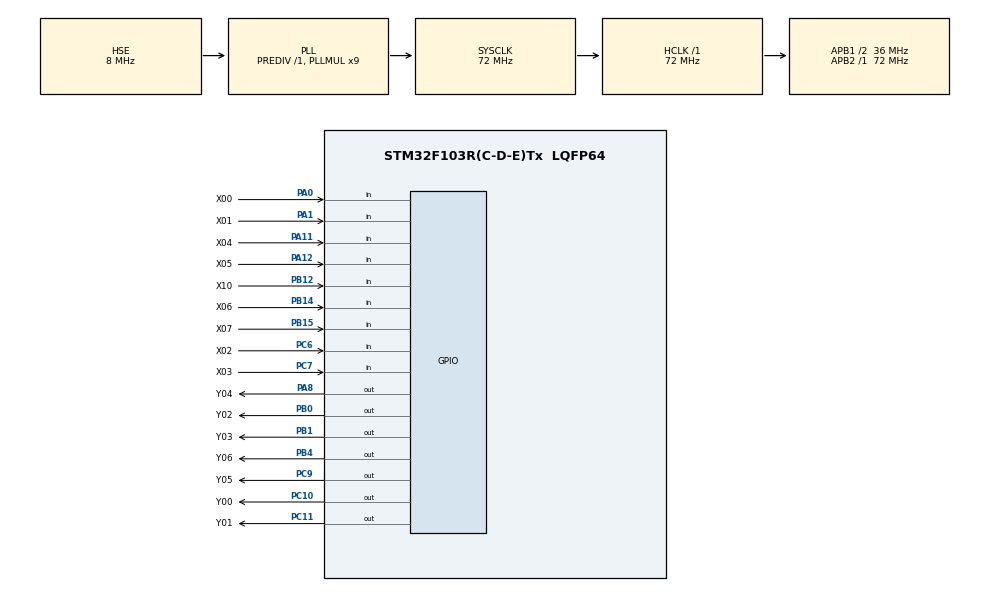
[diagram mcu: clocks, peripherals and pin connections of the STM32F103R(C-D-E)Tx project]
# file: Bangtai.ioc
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FREERTOS.Tasks01=buttonTask,24,128,StartDefaultTask,Default,NULL,Dynamic,NULL,NULL;myTask02,32,128,StartTask02,Default,NULL,Dynamic,NULL,NULL
Mcu.Family=STM32F1
Mcu.Name=STM32F103R(C-D-E)Tx
Mcu.Package=LQFP64
NVIC.PriorityGroup=NVIC_PRIORITYGROUP_4
NVIC.TIM4_IRQn=true\:15\:0\:false\:false\:true\:false\:false\:true\:true
NVIC.TimeBase=TIM4_IRQn
NVIC.TimeBaseIP=TIM4
PA0-WKUP.GPIO_Label=X00
PA0-WKUP.Signal=GPIO_Input
PA1.GPIO_Label=X01
PA1.Signal=GPIO_Input
PA11.GPIO_Label=X04
PA11.GPIO_PuPd=GPIO_PULLUP
PA11.Signal=GPIO_Input
PA12.GPIO_Label=X05
PA12.GPIO_PuPd=GPIO_NOPULL
PA12.Signal=GPIO_Input
PA13.Mode=Serial_Wire
PA13.Signal=SYS_JTMS-SWDIO
PA14.Mode=Serial_Wire
PA14.Signal=SYS_JTCK-SWCLK
PA8.GPIO_Label=Y04
PA8.GPIO_PuPd=GPIO_NOPULL
PA8.GPIO_Speed=GPIO_SPEED_FREQ_LOW
PA8.Signal=GPIO_Output
PB0.GPIO_Label=Y02
PB0.GPIO_PuPd=GPIO_NOPULL
PB0.Signal=GPIO_Output
PB1.GPIO_Label=Y03
PB1.GPIO_PuPd=GPIO_NOPULL
PB1.Signal=GPIO_Output
PB12.GPIO_Label=X10
PB12.Signal=GPIO_Input
PB14.GPIO_Label=X06
PB14.GPIO_PuPd=GPIO_NOPULL
PB14.Signal=GPIO_Input
PB15.GPIO_Label=X07
PB15.GPIO_PuPd=GPIO_NOPULL
PB15.Signal=GPIO_Input
PB4.GPIO_Label=Y06
PB4.GPIO_PuPd=GPIO_NOPULL
PB4.Signal=GPIO_Output
PC10.GPIO_Label=Y00
PC10.GPIO_PuPd=GPIO_NOPULL
PC10.Signal=GPIO_Output
PC11.GPIO_Label=Y01
PC11.GPIO_PuPd=GPIO_NOPULL
PC11.Signal=GPIO_Output
PC6.GPIO_Label=X02
PC6.Signal=GPIO_Input
PC7.GPIO_Label=X03
PC7.GPIO_PuPd=GPIO_PULLUP
PC7.Signal=GPIO_Input
PC9.GPIO_Label=Y05
PC9.GPIO_PuPd=GPIO_NOPULL
PC9.Signal=GPIO_Output
PD0-OSC_IN.Mode=HSE-External-Oscillator
PD0-OSC_IN.Signal=RCC_OSC_IN
PD1-OSC_OUT.Mode=HSE-External-Oscillator
PD1-OSC_OUT.Signal=RCC_OSC_OUT
ProjectManager.HeapSize=0x200
ProjectManager.StackSize=0x400
ProjectManager.TargetToolchain=STM32CubeIDE
RCC.AHBFreq_Value=72000000
RCC.APB1CLKDivider=RCC_HCLK_DIV2
RCC.APB1Freq_Value=36000000
RCC.APB1TimFreq_Value=72000000
RCC.APB2Freq_Value=72000000
RCC.APB2TimFreq_Value=72000000
RCC.HCLKFreq_Value=72000000
RCC.PLLMUL=RCC_PLL_MUL9
RCC.PLLSourceVirtual=RCC_PLLSOURCE_HSE
RCC.SYSCLKFreq_VALUE=72000000
RCC.SYSCLKSource=RCC_SYSCLKSOURCE_PLLCLK
RCC.USBFreq_Value=72000000
VP_FREERTOS_VS_CMSIS_V2.Mode=CMSIS_V2
VP_SYS_VS_tim4.Mode=TIM4
board=custom

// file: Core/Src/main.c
/* USER CODE BEGIN Header */
/**
  ******************************************************************************
  * @file           : main.c
  * @brief          : Main program body
  ******************************************************************************
  * @attention
  *
  * Copyright (c) 2024 STMicroelectronics.
  * All rights reserved.
  *
  * This software is licensed under terms that can be found in the LICENSE file
  * in the root directory of this software component.
  * If no LICENSE file comes with this software, it is provided AS-IS.
  *
  ******************************************************************************
  */
/* USER CODE END Header */
#include "main.h"
#include "cmsis_os.h"

/* USER CODE BEGIN PTD */
typedef enum {
	PROGRAM_STOPPED,
	PROGRAM_RUNNING,
}ProgramState;
typedef enum {
	Motor_load,
	Motor_unload,
	Motor_stop,
}Motor;

/* USER CODE END PTD */

/* Definitions for buttonTask */
osThreadId_t buttonTaskHandle;
const osThreadAttr_t buttonTask_attributes = {
  .name = "buttonTask",
  .stack_size = 128 * 4,
  .priority = (osPriority_t) osPriorityNormal,
};
/* Definitions for myTask02 */
osThreadId_t myTask02Handle;
const osThreadAttr_t myTask02_attributes = {
  .name = "myTask02",
  .stack_size = 128 * 4,
  .priority = (osPriority_t) osPriorityAboveNormal,
};
/* USER CODE BEGIN PV */
ProgramState programState=PROGRAM_RUNNING;

/* USER CODE END PV */

void SystemClock_Config(void);
static void MX_GPIO_Init(void);
void StartDefaultTask(void *argument);
void StartTask02(void *argument);

/* USER CODE BEGIN 0 */
uint16_t req=0;
uint16_t tag=0;

void Motor_driver(Motor status)
{
	switch(status)
	{
		case Motor_load:
			HAL_GPIO_WritePin(Y00_GPIO_Port, Y00_Pin, GPIO_PIN_SET);//Motor Load
			HAL_GPIO_WritePin(Y01_GPIO_Port, Y01_Pin, GPIO_PIN_RESET);
			break;
		case Motor_unload:
			HAL_GPIO_WritePin(Y00_GPIO_Port, Y00_Pin, GPIO_PIN_SET);//Motor UnLoad
			HAL_GPIO_WritePin(Y01_GPIO_Port, Y01_Pin, GPIO_PIN_SET);
			break;
		default:
			HAL_GPIO_WritePin(Y00_GPIO_Port, Y00_Pin, GPIO_PIN_RESET);//Motor Stop
			HAL_GPIO_WritePin(Y01_GPIO_Port, Y01_Pin, GPIO_PIN_RESET);
			break;
	}

}
void Program_Run_Load(void)
{
	if(HAL_GPIO_ReadPin(X04_GPIO_Port, X04_Pin)==1)//cb1
	{
		tag=1;
	}
	if(tag==1)
	{
		if(HAL_GPIO_ReadPin(X07_GPIO_Port, X07_Pin)==0)//red sensor3
		{
			HAL_GPIO_WritePin(Y04_GPIO_Port, Y04_Pin, GPIO_PIN_SET);//write sensor 3
			Motor_driver(Motor_load);
			if(HAL_GPIO_ReadPin(X04_GPIO_Port, X04_Pin)==0)//cb1=0
			{
				Motor_driver(Motor_stop);
				HAL_GPIO_WritePin(Y02_GPIO_Port, Y02_Pin, GPIO_PIN_SET);//wirte sensor 1
				req=0;
				tag=0;
				HAL_Delay(500);
				HAL_GPIO_WritePin(Y02_GPIO_Port, Y02_Pin, GPIO_PIN_RESET);
				HAL_GPIO_WritePin(Y04_GPIO_Port, Y04_Pin, GPIO_PIN_RESET);
			}

		}
		else {
			Motor_driver(Motor_stop);
		}
	}

}
void Program_Run_UnLoad(void)
{
	if(HAL_GPIO_ReadPin(X04_GPIO_Port, X04_Pin)==0)//co hang cb 2
		{
			tag=1;
		}
		if(tag==1)
		{
			if(HAL_GPIO_ReadPin(X07_GPIO_Port, X07_Pin)==0)
			{
				HAL_GPIO_WritePin(Y04_GPIO_Port, Y04_Pin, GPIO_PIN_SET);
				Motor_driver(Motor_unload);
				if(HAL_GPIO_ReadPin(X05_GPIO_Port, X05_Pin)==0)
				{
					Motor_driver(Motor_stop);
					HAL_GPIO_WritePin(Y02_GPIO_Port, Y02_Pin, GPIO_PIN_SET);
					req=0;
					tag=0;
					HAL_Delay(500);
					HAL_GPIO_WritePin(Y02_GPIO_Port, Y02_Pin, GPIO_PIN_RESET);
					HAL_GPIO_WritePin(Y04_GPIO_Port, Y04_Pin, GPIO_PIN_RESET);
				}
			}
			else
			{
				Motor_driver(Motor_stop);
			}

		}

}
void Program_Stop(void)
{
		Motor_driver(Motor_stop);
}

/* USER CODE END 0 */

int main(void)
{

  /* MCU Configuration--------------------------------------------------------*/

  /* Reset of all peripherals, Initializes the Flash interface and the Systick. */
  HAL_Init();

  /* Configure the system clock */
  SystemClock_Config();

  /* Initialize all configured peripherals */
  MX_GPIO_Init();
  /* USER CODE BEGIN 2 */
  HAL_GPIO_WritePin(Y02_GPIO_Port, Y02_Pin, GPIO_PIN_RESET);
  HAL_GPIO_WritePin(Y03_GPIO_Port, Y03_Pin, GPIO_PIN_RESET);
  /* USER CODE END 2 */

  /* Init scheduler */
  osKernelInitialize();

  /* Create the thread(s) */
  /* creation of buttonTask */
  buttonTaskHandle = osThreadNew(StartDefaultTask, NULL, &buttonTask_attributes);

  /* creation of myTask02 */
  myTask02Handle = osThreadNew(StartTask02, NULL, &myTask02_attributes);

  /* Start scheduler */
  osKernelStart();

  /* We should never get here as control is now taken by the scheduler */

  /* Infinite loop */
  while (1)
  {

  }
}

void SystemClock_Config(void)
{
  RCC_OscInitTypeDef RCC_OscInitStruct = {0};
  RCC_ClkInitTypeDef RCC_ClkInitStruct = {0};

  /** Initializes the RCC Oscillators according to the specified parameters
  * in the RCC_OscInitTypeDef structure.
  */
  RCC_OscInitStruct.OscillatorType = RCC_OSCILLATORTYPE_HSE;
  RCC_OscInitStruct.HSEState = RCC_HSE_ON;
  RCC_OscInitStruct.HSEPredivValue = RCC_HSE_PREDIV_DIV1;
  RCC_OscInitStruct.HSIState = RCC_HSI_ON;
  RCC_OscInitStruct.PLL.PLLState = RCC_PLL_ON;
  RCC_OscInitStruct.PLL.PLLSource = RCC_PLLSOURCE_HSE;
  RCC_OscInitStruct.PLL.PLLMUL = RCC_PLL_MUL9;
  if (HAL_RCC_OscConfig(&RCC_OscInitStruct) != HAL_OK)
  {
    Error_Handler();
  }

  /** Initializes the CPU, AHB and APB buses clocks
  */
  RCC_ClkInitStruct.ClockType = RCC_CLOCKTYPE_HCLK|RCC_CLOCKTYPE_SYSCLK
                              |RCC_CLOCKTYPE_PCLK1|RCC_CLOCKTYPE_PCLK2;
  RCC_ClkInitStruct.SYSCLKSource = RCC_SYSCLKSOURCE_PLLCLK;
  RCC_ClkInitStruct.AHBCLKDivider = RCC_SYSCLK_DIV1;
  RCC_ClkInitStruct.APB1CLKDivider = RCC_HCLK_DIV2;
  RCC_ClkInitStruct.APB2CLKDivider = RCC_HCLK_DIV1;

  if (HAL_RCC_ClockConfig(&RCC_ClkInitStruct, FLASH_LATENCY_2) != HAL_OK)
  {
    Error_Handler();
  }
}

static void MX_GPIO_Init(void)
{
  GPIO_InitTypeDef GPIO_InitStruct = {0};

  /* GPIO Ports Clock Enable */
  __HAL_RCC_GPIOD_CLK_ENABLE();
  __HAL_RCC_GPIOA_CLK_ENABLE();
  __HAL_RCC_GPIOB_CLK_ENABLE();
  __HAL_RCC_GPIOC_CLK_ENABLE();

  /*Configure GPIO pin Output Level */
  HAL_GPIO_WritePin(GPIOB, Y02_Pin|Y03_Pin|Y06_Pin, GPIO_PIN_RESET);

  /*Configure GPIO pin Output Level */
  HAL_GPIO_WritePin(GPIOC, Y05_Pin|Y00_Pin|Y01_Pin, GPIO_PIN_RESET);

  /*Configure GPIO pin Output Level */
  HAL_GPIO_WritePin(Y04_GPIO_Port, Y04_Pin, GPIO_PIN_RESET);

  /*Configure GPIO pins : X00_Pin X01_Pin X05_Pin */
  GPIO_InitStruct.Pin = X00_Pin|X01_Pin|X05_Pin;
  GPIO_InitStruct.Mode = GPIO_MODE_INPUT;
  GPIO_InitStruct.Pull = GPIO_NOPULL;
  HAL_GPIO_Init(GPIOA, &GPIO_InitStruct);

  /*Configure GPIO pins : Y02_Pin Y03_Pin Y06_Pin */
  GPIO_InitStruct.Pin = Y02_Pin|Y03_Pin|Y06_Pin;
  GPIO_InitStruct.Mode = GPIO_MODE_OUTPUT_PP;
  GPIO_InitStruct.Pull = GPIO_NOPULL;
  GPIO_InitStruct.Speed = GPIO_SPEED_FREQ_LOW;
  HAL_GPIO_Init(GPIOB, &GPIO_InitStruct);

  /*Configure GPIO pins : X10_Pin X06_Pin X07_Pin */
  GPIO_InitStruct.Pin = X10_Pin|X06_Pin|X07_Pin;
  GPIO_InitStruct.Mode = GPIO_MODE_INPUT;
  GPIO_InitStruct.Pull = GPIO_NOPULL;
  HAL_GPIO_Init(GPIOB, &GPIO_InitStruct);

  /*Configure GPIO pin : X02_Pin */
  GPIO_InitStruct.Pin = X02_Pin;
  GPIO_InitStruct.Mode = GPIO_MODE_INPUT;
  GPIO_InitStruct.Pull = GPIO_NOPULL;
  HAL_GPIO_Init(X02_GPIO_Port, &GPIO_InitStruct);

  /*Configure GPIO pin : X03_Pin */
  GPIO_InitStruct.Pin = X03_Pin;
  GPIO_InitStruct.Mode = GPIO_MODE_INPUT;
  GPIO_InitStruct.Pull = GPIO_PULLUP;
  HAL_GPIO_Init(X03_GPIO_Port, &GPIO_InitStruct);

  /*Configure GPIO pins : Y05_Pin Y00_Pin Y01_Pin */
  GPIO_InitStruct.Pin = Y05_Pin|Y00_Pin|Y01_Pin;
  GPIO_InitStruct.Mode = GPIO_MODE_OUTPUT_PP;
  GPIO_InitStruct.Pull = GPIO_NOPULL;
  GPIO_InitStruct.Speed = GPIO_SPEED_FREQ_LOW;
  HAL_GPIO_Init(GPIOC, &GPIO_InitStruct);

  /*Configure GPIO pin : Y04_Pin */
  GPIO_InitStruct.Pin = Y04_Pin;
  GPIO_InitStruct.Mode = GPIO_MODE_OUTPUT_PP;
  GPIO_InitStruct.Pull = GPIO_NOPULL;
  GPIO_InitStruct.Speed = GPIO_SPEED_FREQ_LOW;
  HAL_GPIO_Init(Y04_GPIO_Port, &GPIO_InitStruct);

  /*Configure GPIO pin : X04_Pin */
  GPIO_InitStruct.Pin = X04_Pin;
  GPIO_InitStruct.Mode = GPIO_MODE_INPUT;
  GPIO_InitStruct.Pull = GPIO_PULLUP;
  HAL_GPIO_Init(X04_GPIO_Port, &GPIO_InitStruct);

}

void StartDefaultTask(void *argument)
{
  /* USER CODE BEGIN 5 */
  /* Infinite loop */
  for(;;)
  {
	 if(HAL_GPIO_ReadPin(X00_GPIO_Port, X00_Pin)==0)
	 {
		 programState=PROGRAM_STOPPED;
		 Program_Stop();
	 }
	 if(HAL_GPIO_ReadPin(X00_GPIO_Port, X00_Pin)==1&&HAL_GPIO_ReadPin(X01_GPIO_Port, X01_Pin)==0)
	 {
		 programState=PROGRAM_RUNNING;
	 }
	 if(HAL_GPIO_ReadPin(X02_GPIO_Port, X02_Pin)==0)
	 {
		 programState=PROGRAM_STOPPED;
		 Program_Stop();
	 }
    osDelay(1);
  }
  /* USER CODE END 5 */
}

void StartTask02(void *argument)
{
  /* USER CODE BEGIN StartTask02 */
  /* Infinite loop */
  for(;;)
  {
	  if(programState==PROGRAM_RUNNING){
		  if(HAL_GPIO_ReadPin(X06_GPIO_Port, X06_Pin)==1)
			  {
				  Program_Run_Load();
			  }
			  else if(HAL_GPIO_ReadPin(X06_GPIO_Port, X06_Pin)==0){
				  Program_Run_UnLoad();
			  }
	  }
	  else{

	  }

    osDelay(1);
  }
  /* USER CODE END StartTask02 */
}

void HAL_TIM_PeriodElapsedCallback(TIM_HandleTypeDef *htim)
{
  if (htim->Instance == TIM4) {
    HAL_IncTick();
  }
}

void Error_Handler(void)
{
  __disable_irq();
  while (1)
  {
  }
}
